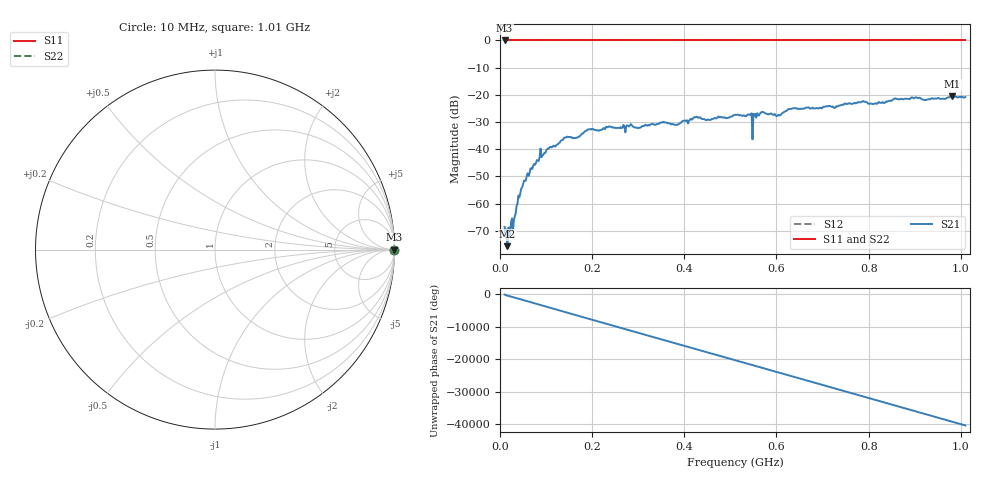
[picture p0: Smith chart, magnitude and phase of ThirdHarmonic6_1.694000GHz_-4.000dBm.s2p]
! 8/16/2025 8:20:48 PM
! C:\ANRITSUVNA\TEMP\TEMP.S2P
! CHANNEL.1
! TR.MEASUREMENT
! RAW.DATA
! RF.CORRECTION.OFF
! AVERAGING.OFF
! IF.BANDWIDTH: 5KHZ
! SWEEPTYPE:  FREQ.SWEEP(Linear)
! Reference Plane Port Info
! PORT:  PORT1  PORT2
! DISTANCE:  0  m  0  m
! TIME:  0  s  0  s
! PHASE.OFFSET:  0  deg.  0  deg.
! LOSS:  0  dB  0  dB
! REF.LOSS:  0  dB  0  dB
! REF.FREQ:  0  Hz  0  Hz
! Power Info
! POWER:  -20  dBm  -20  dBm
! EFF.POWER:  -20  dBm  -20  dBm
! SOURCE.ATTEN:  0  dB  0  dB
! TEST.ATTEN:  0  dB  0  dB
# GHZ S RI R 50.0
! FREQ.GHZ  S11RE  S11IM  S21RE  S21IM  S12RE  S12IM  S22RE  S22IM
!; PortSelection: Port_12
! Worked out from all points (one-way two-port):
!   501 points, 10 MHz to 1.01 GHz, reference 50 ohm
!   highest |S21| = -20.51 dB at 982 MHz (marker M1); lowest = -75.7 dB at 16 MHz (marker M2)
!   lowest |S11| = 0.0 dB at 10 MHz (marker M3)
!   |S11| at or under -10 dB: nowhere
!   |S22| runs from 0.0 to 0.0 dB; largest |S21 - S12| = 1.1
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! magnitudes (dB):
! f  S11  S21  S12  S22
! 10 MHz  0.0  -68.6  0.0  0.0
! 16 MHz  0.0  -75.7  0.0  0.0
! 32 MHz  0.0  -64.7  0.0  0.0
! 40 MHz  0.0  -57.0  0.0  0.0
! 50 MHz  0.0  -53.0  0.0  0.0
! 84 MHz  0.0  -44.4  0.0  0.0
! 142 MHz  0.0  -35.7  0.0  0.0
! 178 MHz  0.0  -34.3  0.0  0.0
! 234 MHz  0.0  -31.9  0.0  0.0
! 344 MHz  0.0  -30.7  0.0  0.0
! 510 MHz  0.0  -27.3  0.0  0.0
! 542 MHz  0.0  -27.3  0.0  0.0
! 544 MHz  0.0  -27.4  0.0  0.0
! 552 MHz  0.0  -27.6  0.0  0.0
! 554 MHz  0.0  -27.0  0.0  0.0
! 568 MHz  0.0  -26.3  0.0  0.0
! 604 MHz  0.0  -27.4  0.0  0.0
! 632 MHz  0.0  -25.2  0.0  0.0
! 678 MHz  0.0  -24.7  0.0  0.0
! 844 MHz  0.0  -22.2  0.0  0.0
! 982 MHz  0.0  -20.5  0.0  0.0
! 1.01 GHz  0.0  -20.8  0.0  0.0
